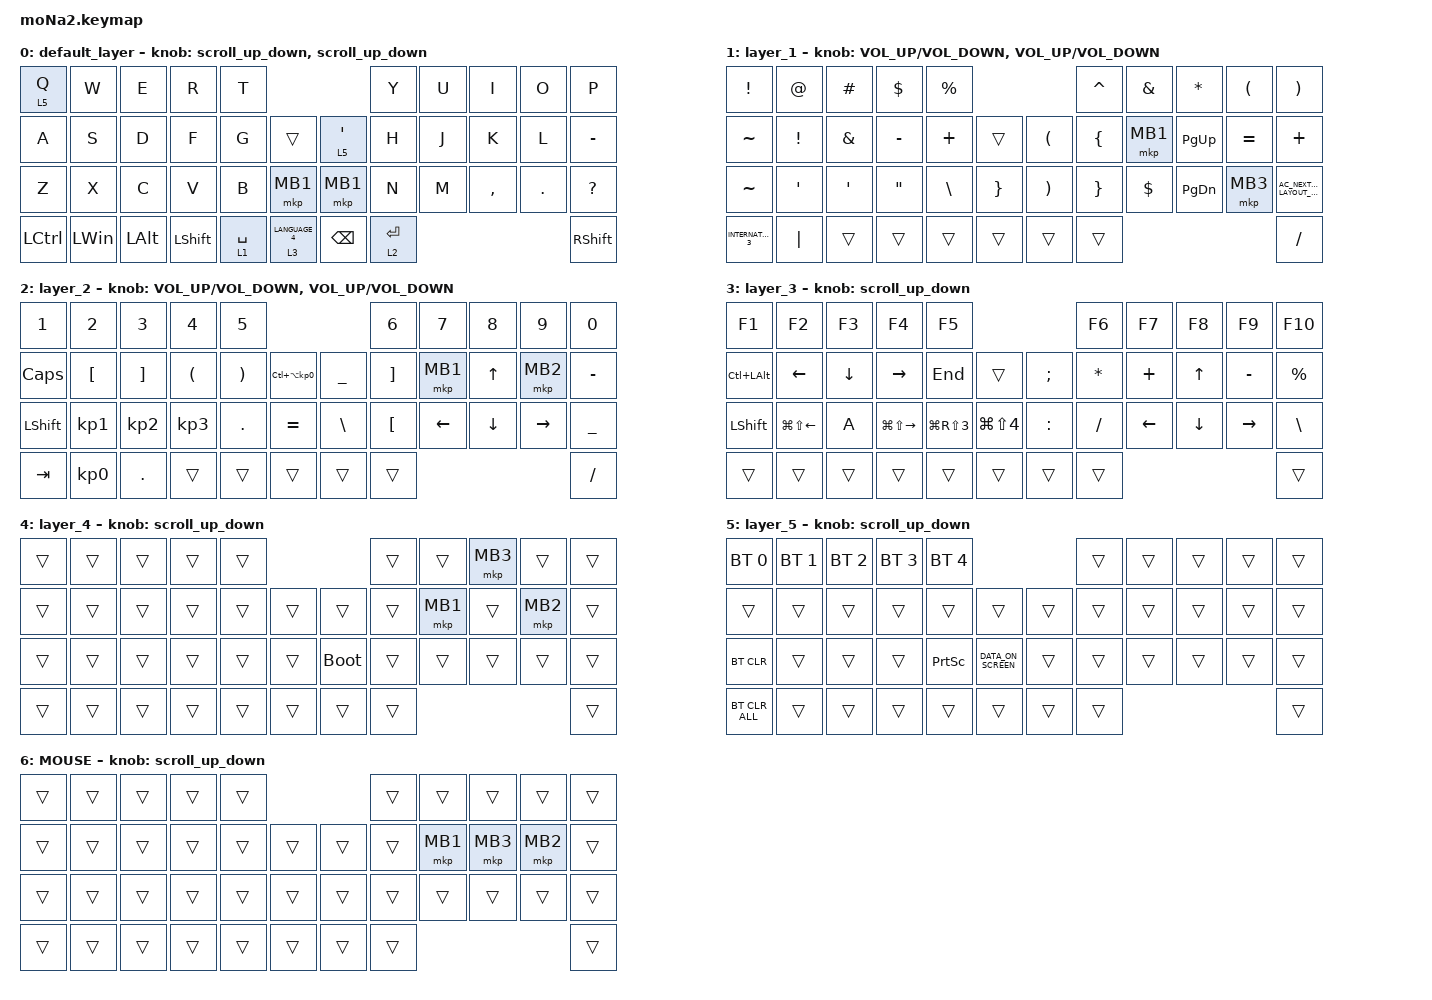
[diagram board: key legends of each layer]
#include <behaviors.dtsi>
#include <dt-bindings/zmk/bt.h>
#include <dt-bindings/zmk/keys.h>
#include <dt-bindings/zmk/pointing.h>

#define ZMK_POINTING_DEFAULT_SCRL_VAL 100
#define MOUSE 6

&mt {
    flavor = "balanced";
    quick-tap-ms = <0>;
};

/ {
    combos { compatible = "zmk,combos"; };

    macros {
        to_layer_0: to_layer_0 {
            compatible = "zmk,behavior-macro-one-param";
            #binding-cells = <1>;
            bindings = <&to 0 &macro_param_1to1 &kp MACRO_PLACEHOLDER>;
            label = "TO_LAYER_0";
        };
    };

    behaviors {
        lt_to_layer_0: lt_to_layer_0 {
            compatible = "zmk,behavior-hold-tap";
            label = "LAYER_TAP_TO_0";
            bindings = <&mo>, <&to_layer_0>;

            #binding-cells = <2>;
            tapping-term-ms = <200>;
        };

        scroll_up_down: behavior_sensor_rotate_mouse_wheel_up_down {
            compatible = "zmk,behavior-sensor-rotate";
            #sensor-binding-cells = <0>;
            bindings = <&msc SCRL_UP>, <&msc SCRL_DOWN>;

            tap-ms = <20>;
        };
    };

    keymap {
        compatible = "zmk,keymap";

        default_layer {
            bindings = <
&lt 5 Q    &kp W         &kp E         &kp R           &kp T                                           &kp Y        &kp U  &kp I      &kp O    &kp P
&kp A      &kp S         &kp D         &kp F           &kp G        &trans              &lt 5 APOS     &kp H        &kp J  &kp K      &kp L    &kp MINUS
&kp Z      &kp X         &kp C         &kp V           &kp B        &mkp MB1            &mkp MB1       &kp N        &kp M  &kp COMMA  &kp DOT  &kp QUESTION
&kp LCTRL  &kp LEFT_WIN  &kp LEFT_ALT  &kp LEFT_SHIFT  &lt 1 SPACE  &lt 3 LANGUAGE_4    &kp BACKSPACE  &lt 2 ENTER                             &kp RIGHT_SHIFT
            >;

            sensor-bindings = <&scroll_up_down>, <&scroll_up_down>;
        };

        layer_1 {
            bindings = <
&kp EXCLAMATION      &kp AT_SIGN       &kp HASH          &kp DOLLAR         &kp PERCENT                                              &kp CARET        &kp AMPERSAND  &kp ASTERISK   &kp LEFT_PARENTHESIS  &kp RIGHT_PARENTHESIS
&kp TILDE            &kp EXCL          &kp AMPERSAND     &kp MINUS          &kp PLUS       &trans             &kp LEFT_PARENTHESIS   &kp LEFT_BRACE   &mkp MB1       &kp PAGE_UP    &kp EQUAL             &kp PLUS
&kp TILDE            &kp SINGLE_QUOTE  &kp SINGLE_QUOTE  &kp DOUBLE_QUOTES  &kp BACKSLASH  &kp RIGHT_BRACE    &kp RIGHT_PARENTHESIS  &kp RIGHT_BRACE  &kp DOLLAR     &kp PAGE_DOWN  &mkp MB3              &kp C_AC_NEXT_KEYBOARD_LAYOUT_SELECT
&kp INTERNATIONAL_3  &kp PIPE          &trans            &trans             &trans         &trans             &trans                 &trans                                                               &kp SLASH
            >;

            sensor-bindings =
                <&inc_dec_kp C_VOLUME_UP C_VOLUME_DOWN>,
                <&inc_dec_kp C_VOLUME_UP C_VOLUME_DOWN>;
        };

        layer_2 {
            bindings = <
&kp NUMBER_1    &kp NUMBER_2      &kp NUMBER_3       &kp NUMBER_4          &kp N5                                                            &kp NUMBER_6       &kp N7          &kp N8          &kp N9           &kp N0
&kp CAPSLOCK    &kp LEFT_BRACKET  &kp RIGHT_BRACKET  &kp LEFT_PARENTHESIS  &kp RIGHT_PARENTHESIS  &kp LC(LA(KP_NUMBER_0))    &kp UNDERSCORE  &kp RIGHT_BRACKET  &mkp MB1        &kp UP          &mkp MB2         &kp MINUS
&kp LEFT_SHIFT  &kp KP_NUMBER_1   &kp KP_NUMBER_2    &kp KP_NUMBER_3       &kp PERIOD             &kp EQUAL                  &kp BACKSLASH   &kp LEFT_BRACKET   &kp LEFT_ARROW  &kp DOWN_ARROW  &kp RIGHT_ARROW  &kp UNDERSCORE
&kp TAB         &kp KP_NUMBER_0   &kp PERIOD         &trans                &trans                 &trans                     &trans          &trans                                                              &kp SLASH
            >;

            sensor-bindings =
                <&inc_dec_kp C_VOLUME_UP C_VOLUME_DOWN>,
                <&inc_dec_kp C_VOLUME_UP C_VOLUME_DOWN>;
        };

        layer_3 {
            bindings = <
&kp F1            &kp F2                  &kp F3          &kp F4                   &kp F5                                           &kp F6     &kp F7    &kp F8        &kp F9     &kp F10
&kp LC(LEFT_ALT)  &kp LEFT_ARROW          &kp DOWN_ARROW  &kp RIGHT_ARROW          &kp END         &trans            &kp SEMICOLON  &kp ASTRK  &kp PLUS  &kp UP_ARROW  &kp MINUS  &kp PERCENT
&kp LEFT_SHIFT    &kp LG(LS(LEFT_ARROW))  &kp A           &kp LG(LS(RIGHT_ARROW))  &kp LG(RS(N3))  &kp LG(LS(N4))    &kp COLON      &kp SLASH  &kp LEFT  &kp DOWN      &kp RIGHT  &kp BACKSLASH
&trans            &trans                  &trans          &trans                   &trans          &trans            &trans         &trans                                        &trans
            >;

            sensor-bindings = <&scroll_up_down>;
        };

        layer_4 {
            bindings = <
&trans  &trans  &trans  &trans  &trans                         &trans  &trans    &mkp MB3  &trans    &trans
&trans  &trans  &trans  &trans  &trans  &trans    &trans       &trans  &mkp MB1  &trans    &mkp MB2  &trans
&trans  &trans  &trans  &trans  &trans  &trans    &bootloader  &trans  &trans    &trans    &trans    &trans
&trans  &trans  &trans  &trans  &trans  &trans    &trans       &trans                                &trans
            >;

            sensor-bindings = <&scroll_up_down>;
        };

        layer_5 {
            bindings = <
&bt BT_SEL 0    &bt BT_SEL 1  &bt BT_SEL 2  &bt BT_SEL 3  &bt BT_SEL 4                                     &trans  &trans  &trans  &trans  &trans
&trans          &trans        &trans        &trans        &trans           &trans                  &trans  &trans  &trans  &trans  &trans  &trans
&bt BT_CLR      &trans        &trans        &trans        &kp PRINTSCREEN  &kp C_DATA_ON_SCREEN    &trans  &trans  &trans  &trans  &trans  &trans
&bt BT_CLR_ALL  &trans        &trans        &trans        &trans           &trans                  &trans  &trans                          &trans
            >;

            sensor-bindings = <&scroll_up_down>;
        };

        MOUSE {
            bindings = <
&trans  &trans  &trans  &trans  &trans                    &trans  &trans    &trans    &trans    &trans
&trans  &trans  &trans  &trans  &trans  &trans    &trans  &trans  &mkp MB1  &mkp MB3  &mkp MB2  &trans
&trans  &trans  &trans  &trans  &trans  &trans    &trans  &trans  &trans    &trans    &trans    &trans
&trans  &trans  &trans  &trans  &trans  &trans    &trans  &trans                                &trans
            >;

            sensor-bindings = <&scroll_up_down>;
        };
    };
};
